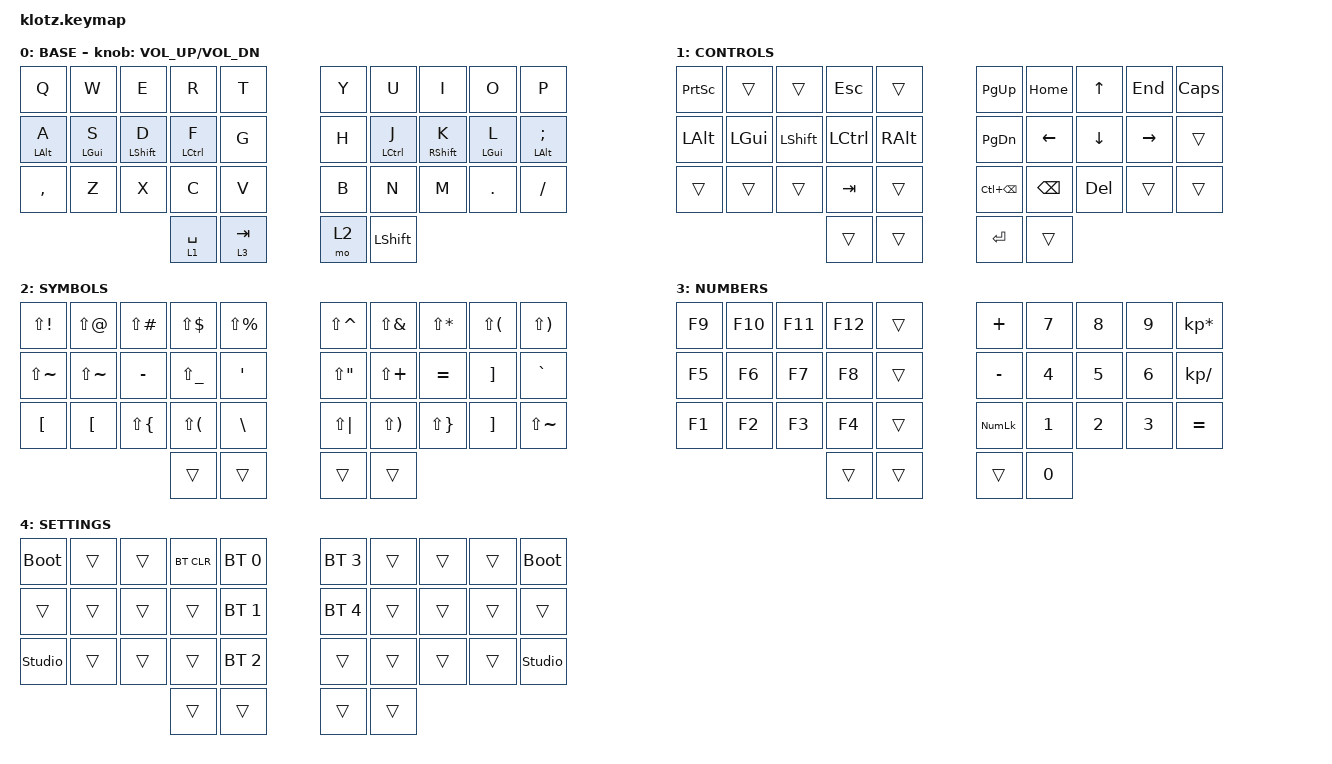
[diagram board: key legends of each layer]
//                                      █         ██        ▄▀▀▀▀▀▀▀▀▀▀█▀▀▀▀▀▀▀▀█▀▀▀▀▀▀▀▀▀▀█
//                                      █        █ █      ▄▀            ▀▄      █         █
//                                      █       █  █    ▄▀                ▀▄    █        █
//                                      █      █   █   █                    █   █       █
//                                      █     █    █   █                    █   █      █
//                                      █    █     █   █                    █   █  ▀▀▀█▀▀▀▀
//                                      █   █ █    █   █                    █   █    █
//                                      █  █   █   █   █                    █   █   █
//                                      █ █     █  █    ▀▄                ▄▀    █  █
//                                      ██       █ █      ▀▄            ▄▀      █ █
//                                      █         ██▄▄▄▄▄▄▄▄█▄▄▄▄▄▄▄▄▄▄▀        ██▄▄▄▄▄▄▄▄▄▄
//
// ▄▄▄▄▄▄▄▄▄▄▄▄▄▄▄▄▄▄▄▄▄▄▄▄▄▄▄▄▄▄▄▄▄▄▄▄▄▄▄▄▄▄▄▄▄▄▄▄▄▄▄▄▄▄▄▄▄▄▄▄▄▄▄▄▄▄▄▄▄▄▄▄▄▄▄▄▄▄▄▄▄▄▄▄▄▄▄▄▄▄▄▄▄▄▄▄▄▄▄▄▄▄▄▄▄▄▄▄▄▄▄▄▄▄▄▄▄▄▄▄▄▄▄▄▄

#include <behaviors.dtsi>
#include <dt-bindings/zmk/bt.h>
#include <dt-bindings/zmk/keys.h>

#define BASE 0
#define NAV  1
#define SYM  2
#define ADJ  3
#define TVP1 4
#define TVP2 5

&mt {
    quick-tap-ms = <100>;
    global-quick-tap;
    flavor = "tap-preferred";
    tapping-term-ms = <170>;
};

/ {
    combos {
        compatible = "zmk,combos";

        settings_layer {
            bindings = <&mo 4>;
            key-positions = <31 30>;
        };

        L_Ctl {
            bindings = <&kp LEFT_CONTROL>;
            key-positions = <13 12>;
        };

        R_Ctl {
            bindings = <&kp LEFT_CONTROL>;
            key-positions = <17 16>;
        };

        L_Shift {
            bindings = <&kp LEFT_SHIFT>;
            key-positions = <11 12>;
        };

        R_Shift {
            bindings = <&kp LEFT_SHIFT>;
            key-positions = <18 17>;
        };

        L_Alt {
            bindings = <&kp LEFT_ALT>;
            key-positions = <11 10>;
        };

        R_Alt {
            bindings = <&kp LEFT_ALT>;
            key-positions = <19 18>;
        };

        L_GUI {
            bindings = <&kp LEFT_GUI>;
            key-positions = <23 22>;
        };

        R_GUI {
            bindings = <&kp LEFT_GUI>;
            key-positions = <26 27>;
        };

        SWITCH_LANG {
            bindings = <&kp RIGHT_ALT>;
            key-positions = <3 2>;
        };

        SWITCH_LANG_R {
            bindings = <&kp RIGHT_ALT>;
            key-positions = <7 6>;
        };
    };

    macros {
        gif: gif {
            label = "giphy";
            compatible = "zmk,behavior-macro";
            #binding-cells = <0>;
            bindings =
                <&macro_press>,
                <&kp LSHFT>,
                <&macro_tap>,
                <&kp N2>,
                <&macro_release>,
                <&kp LSHFT>,
                <&macro_tap>,
                <&kp G &kp I &kp F>;
        };

        qusp: qusp {
            label = "quote space";
            compatible = "zmk,behavior-macro";
            #binding-cells = <0>;
            bindings = <&macro_tap>, <&kp DQT>, <&macro_tap>, <&kp SPACE>;
        };

        sqsp: sqsp {
            label = "quote space";
            compatible = "zmk,behavior-macro";
            #binding-cells = <0>;
            bindings = <&macro_tap>, <&kp SQT>, <&macro_tap>, <&kp SPACE>;
        };
    };

    keymap {
        compatible = "zmk,keymap";

        // ▄▄▄▄▄▄▄▄▄▄▄▄▄▄▄▄▄▄▄▄▄▄▄▄▄▄▄▄▄▄▄▄▄▄▄▄▄▄▄▄▄▄▄▄▄▄▄▄▄▄▄▄▄▄▄▄▄▄▄▄▄▄▄▄▄▄▄▄▄▄▄▄▄▄▄▄▄▄▄▄▄▄▄▄▄▄▄▄▄▄▄▄▄▄▄▄▄▄▄▄▄▄▄▄▄▄▄▄▄▄▄▄▄▄▄▄▄▄▄▄▄▄▄▄▄

        base_layer {
            // ┏━━━━━━━━━━━━━━━━━━━━━━━━━━━━━━━━━━━━━━━┓

            label = "BASE";

            // ┗━━━━━━━━━━━━━━━━━━━━━━━━━━━━━━━━━━━━━━━┛
            // ┏━━━━━━━━━━━┳━━━━━━━━━━━┳━━━━━━━━━━━┳━━━━━━━━━━━┳━━━━━━━━━━━┓   ┏━━━━━━━━━━━┳━━━━━━━━━━━┳━━━━━━━━━━━┳━━━━━━━━━━━┳━━━━━━━━━━━┓
            // ┃     Q     ┃     W     ┃     F     ┃     P     ┃     G     ┃   ┃     J     ┃     L     ┃     U     ┃     Y     ┃     ;     ┃
            // ┣━━━━━━━━━━━╋━━━━━━━━━━━╋━━━━━━━━━━━╋━━━━━━━━━━━╋━━━━━━━━━━━┫   ┣━━━━━━━━━━━╋━━━━━━━━━━━╋━━━━━━━━━━━╋━━━━━━━━━━━╋━━━━━━━━━━━┫
            // ┃     A     ┃     R     ┃     S     ┃     T     ┃     D     ┃   ┃     H     ┃     N     ┃     E     ┃     I     ┃     O     ┃
            // ┣━━━━━━━━━━━╋━━━━━━━━━━━╋━━━━━━━━━━━╋━━━━━━━━━━━╋━━━━━━━━━━━┫   ┣━━━━━━━━━━━╋━━━━━━━━━━━╋━━━━━━━━━━━╋━━━━━━━━━━━╋━━━━━━━━━━━┫
            // ┃     Z     ┃     X     ┃     C     ┃     V     ┃     B     ┃   ┃     K     ┃     M     ┃     ,     ┃     .     ┃     /     ┃
            // ┗━━━━━━━━━━━┻━━━━━━━━━━━┻━━━━━━━━━━━╋━━━━━━━━━━━╋━━━━━━━━━━━┫   ┣━━━━━━━━━━━╋━━━━━━━━━━━╋━━━━━━━━━━━┻━━━━━━━━━━━┻━━━━━━━━━━━┛
            //                                     ┃    TAB    ┃    SPC    ┃   ┃   ENTER   ┃   BSPC    ┃
            //                                     ┗━━━━━━━━━━━┻━━━━━━━━━━━┛   ┗━━━━━━━━━━━┻━━━━━━━━━━━┛

            bindings = <
&kp Q           &kp W           &kp E             &kp R        &kp T      &kp Y  &kp U               &kp I         &kp O           &kp P
&mt LEFT_ALT A  &mt LEFT_GUI S  &mt LEFT_SHIFT D  &mt LCTRL F  &kp G      &kp H  &mt LEFT_CONTROL J  &mt RSHIFT K  &mt LEFT_GUI L  &mt LEFT_ALT SEMICOLON
&kp COMMA       &kp Z           &kp X             &kp C        &kp V      &kp B  &kp N               &kp M         &kp PERIOD      &kp FSLH
                                                  &lt 1 SPACE  &lt 3 TAB  &mo 2  &kp LEFT_SHIFT
            >;

            sensor-bindings = <&inc_dec_kp C_VOL_UP C_VOL_DN>;
        };

        CONTROLS {
            bindings = <
&kp PRINTSCREEN  &trans        &trans          &kp ESCAPE        &trans         &kp PAGE_UP        &kp HOME       &kp UP_ARROW  &kp END          &kp CAPSLOCK
&kp LEFT_ALT     &kp LEFT_GUI  &kp LEFT_SHIFT  &kp LEFT_CONTROL  &kp RIGHT_ALT  &kp PAGE_DOWN      &kp LEFT       &kp DOWN      &kp RIGHT_ARROW  &trans
&trans           &trans        &trans          &kp TAB           &trans         &kp LC(BACKSPACE)  &kp BACKSPACE  &kp DELETE    &trans           &trans
                                               &trans            &trans         &kp ENTER          &trans
            >;
        };

        SYMBOLS {
            bindings = <
&kp LS(EXCL)   &kp LS(AT)     &kp LS(POUND)  &kp LS(DLLR)   &kp LS(PRCNT)  &kp LS(CARET)  &kp LS(AMPS)  &kp LS(STAR)  &kp LS(LPAR)  &kp LS(RPAR)
&kp LS(TILDE)  &kp LS(TILDE)  &kp MINUS      &kp LS(UNDER)  &kp SQT        &kp LS(DQT)    &kp LS(PLUS)  &kp EQUAL     &kp RBKT      &kp GRAVE
&kp LBKT       &kp LBKT       &kp LS(LBRC)   &kp LS(LPAR)   &kp BSLH       &kp LS(PIPE)   &kp LS(RPAR)  &kp LS(RBRC)  &kp RBKT      &kp LS(TILDE)
                                             &trans         &trans         &trans         &trans
            >;
        };

        NUMBERS {
            bindings = <
&kp F9  &kp F10  &kp F11  &kp F12  &trans  &kp PLUS    &kp NUMBER_7  &kp NUMBER_8  &kp NUMBER_9  &kp KP_MULTIPLY
&kp F5  &kp F6   &kp F7   &kp F8   &trans  &kp MINUS   &kp NUMBER_4  &kp N5        &kp NUMBER_6  &kp KP_DIVIDE
&kp F1  &kp F2   &kp F3   &kp F4   &trans  &kp KP_NUM  &kp NUMBER_1  &kp NUMBER_2  &kp NUMBER_3  &kp EQUAL
                          &trans   &trans  &trans      &kp NUMBER_0
            >;
        };

        SETTINGS {
            bindings = <
&bootloader     &trans  &trans  &bt BT_CLR  &bt BT_SEL 0  &bt BT_SEL 3  &trans  &trans  &trans  &bootloader
&trans          &trans  &trans  &trans      &bt BT_SEL 1  &bt BT_SEL 4  &trans  &trans  &trans  &trans
&studio_unlock  &trans  &trans  &trans      &bt BT_SEL 2  &trans        &trans  &trans  &trans  &studio_unlock
                                &trans      &trans        &trans        &trans
            >;
        };
    };
};
